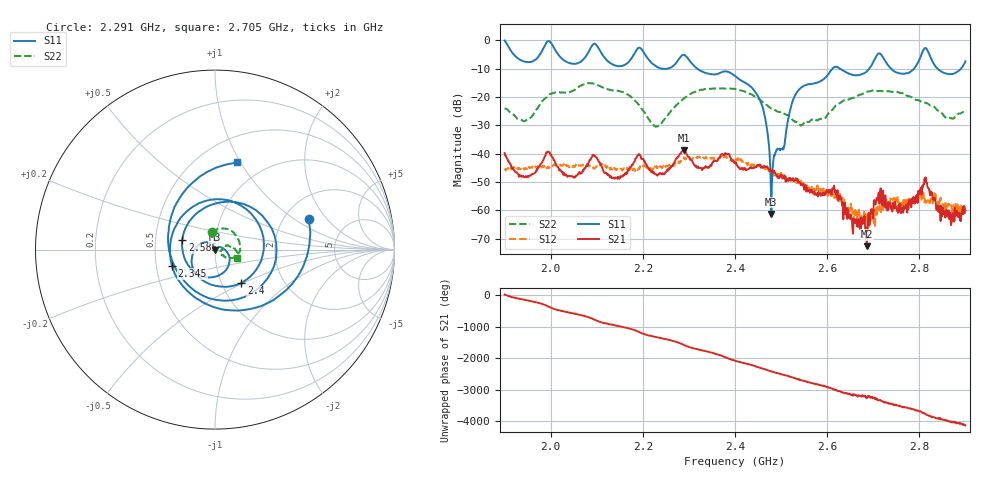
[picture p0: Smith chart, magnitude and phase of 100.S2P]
! C:\Users\rflab\Downloads\Lab5_KD_ZW\100.S2P
! Touchstone 1.1 file saved by VNA.EXE V1.65 (www.ke5fx.com/gpib/readme.htm)
! 11/11/2024 11:44:56 PM
!  Source: HEWLETT PACKARD,8753D,0,6.14
!  Min freq: 1.900000E+009 Hz
!  Max freq: 2.900000E+009 Hz
!  Points: 801
!  Params: S11 S21 S12 S22
# GHZ S RI R 50
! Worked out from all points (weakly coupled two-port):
!   801 points, 1.9 GHz to 2.9 GHz, reference 50 ohm
!   highest |S21| = -38.64 dB at 2.29 GHz (marker M1); lowest = -72.7 dB at 2.686 GHz (marker M2)
!   lowest |S11| = -61.3 dB at 2.479 GHz (marker M3), VSWR 1.00, Z = 50.1 + j0.0146 ohm
!   |S11| at or under -10 dB: 2.319 GHz to 2.611 GHz (292.6 MHz wide, 11.9 % of centre); 2.629 GHz to 2.691 GHz (62.61 MHz wide, 2.35 % of centre); 2.84 GHz to 2.89 GHz (50.38 MHz wide, 1.76 % of centre) (the widest 3 of 5)
!   |S22| runs from -30.5 to -15.1 dB; largest |S21 - S12| = 0.0053
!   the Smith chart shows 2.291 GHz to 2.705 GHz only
!   S11 on the Smith chart (normalised r, x): 2.291 GHz: 2.71, +1.32; 2.345 GHz: 0.60, -0.12; 2.4 GHz: 1.24, -0.49; 2.585 GHz: 0.69, +0.07; 2.705 GHz: 0.75, +0.97
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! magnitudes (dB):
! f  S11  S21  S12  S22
! 1.9 GHz  0.0  -39.8  -45.3  -23.9
! 1.945 GHz  -7.6  -48.0  -45.0  -28.4
! 1.994 GHz  -0.3  -39.3  -45.0  -19.6
! 2.067 GHz  -7.2  -46.8  -44.1  -15.8
! 2.15 GHz  -9.1  -48.7  -45.0  -18.0
! 2.19 GHz  -2.6  -40.4  -45.5  -22.5
! 2.234 GHz  -9.6  -47.3  -45.3  -30.1
! 2.29 GHz  -5.1  -38.6  -41.7  -20.3
! 2.291 GHz  -5.2  -39.1  -41.5  -20.2
! 2.345 GHz  -11.8  -44.7  -41.6  -17.1
! 2.4 GHz  -12.5  -42.9  -42.5  -17.2
! 2.456 GHz  -21.9  -45.0  -44.3  -21.3
! 2.479 GHz  -61.3  -46.4  -46.5  -24.1
! 2.53 GHz  -19.5  -49.4  -49.7  -28.8
! 2.567 GHz  -15.3  -53.6  -53.8  -27.8
! 2.585 GHz  -14.4  -54.0  -53.6  -27.7
! 2.686 GHz  -10.9  -72.7  -62.7  -18.1
! 2.705 GHz  -6.0  -57.9  -60.7  -17.8
! 2.734 GHz  -9.1  -58.1  -57.1  -17.9
! 2.811 GHz  -2.8  -48.8  -57.2  -22.0
! 2.851 GHz  -11.3  -59.1  -57.9  -26.1
! 2.9 GHz  -7.4  -60.1  -58.9  -24.6
